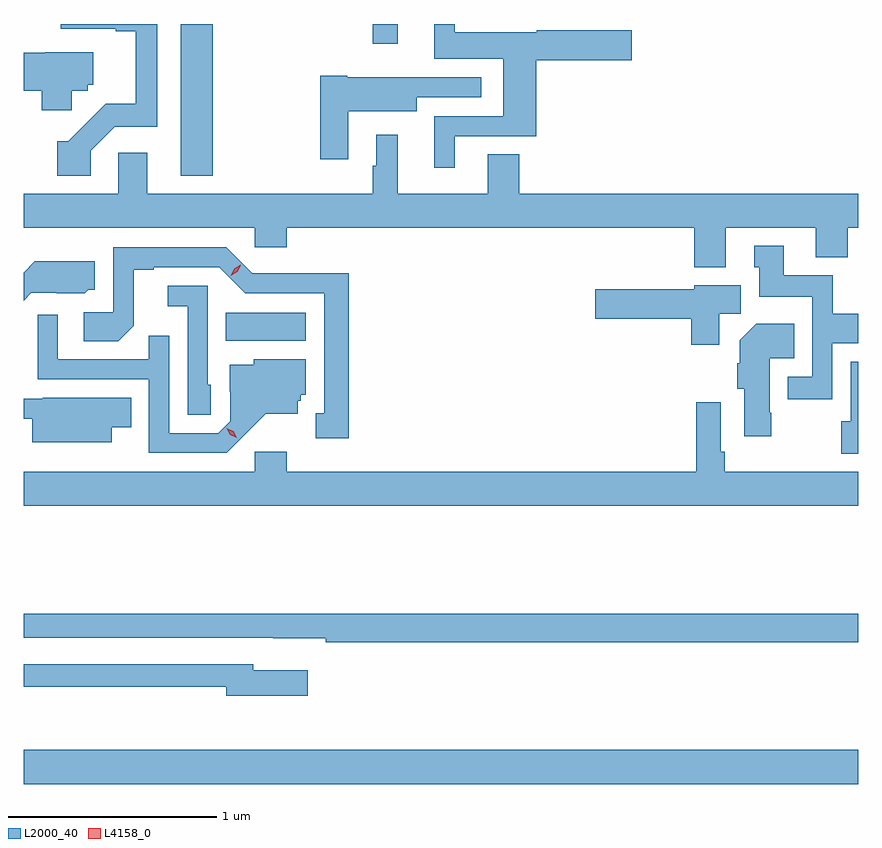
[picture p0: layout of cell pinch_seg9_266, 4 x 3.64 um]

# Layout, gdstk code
import gdstk
lib = gdstk.Library(unit=1e-6, precision=1e-09)
def R(c, l, rs):  # rectangles x0, y0, x1, y1
    for r in rs: c.add(gdstk.rectangle(r[:2], r[2:], *l))
def P(c, l, *ps):  # polygons
    for p in ps: c.add(gdstk.Polygon(p, *l))
L2000_40 = (2000, 40)
L4158_0 = (4158, 0)

pinch_seg9_266 = lib.new_cell('pinch_seg9_266')
R(pinch_seg9_266, L2000_40, [(502.922,1235.048,506.922,1235.212), (503.89,1237.172,504.274,1237.306), (503.675,1237.961,503.828,1238.689), (504.594,1238.595,504.715,1238.689)])
P(pinch_seg9_266, L2000_40, [(503.244,1238.082),(503.358,1238.196),(503.563,1238.196),(503.563,1238.689),(503.101,1238.689),(503.101,1238.667),(503.363,1238.667),(503.363,1238.655),(503.459,1238.655),(503.459,1238.306),(503.315,1238.306),(503.137,1238.128),(503.084,1238.128),(503.084,1237.962),(503.244,1237.962)],
  [(504.988,1238.151),(505.379,1238.151),(505.379,1238.516),(505.837,1238.516),(505.837,1238.658),(505.381,1238.658),(505.381,1238.65),(504.988,1238.65),(504.988,1238.689),(504.89,1238.689),(504.89,1238.522),(505.22,1238.522),(505.22,1238.247),(504.89,1238.247),(504.89,1238.001),(504.988,1238.001)],
  [(503.154,1238.37),(503.229,1238.37),(503.229,1238.397),(503.257,1238.397),(503.257,1238.554),(503.025,1238.554),(503.025,1238.552),(502.922,1238.552),(502.922,1238.369),(503.009,1238.369),(503.009,1238.276),(503.154,1238.276)],
  [(504.478,1238.27),(504.805,1238.27),(504.805,1238.337),(505.114,1238.337),(505.114,1238.433),(504.801,1238.433),(504.801,1238.434),(504.474,1238.434),(504.474,1238.441),(504.344,1238.441),(504.344,1238.04),(504.478,1238.04)],
  [(506.287,1237.712),(506.717,1237.712),(506.717,1237.571),(506.87,1237.571),(506.87,1237.712),(506.922,1237.712),(506.922,1237.876),(505.298,1237.876),(505.298,1238.066),(505.145,1238.066),(505.145,1237.876),(504.715,1237.876),(504.715,1238.158),(504.611,1238.158),(504.611,1238.009),(504.594,1238.009),(504.594,1237.876),(503.515,1237.876),(503.515,1238.071),(503.376,1238.071),(503.376,1237.876),(502.922,1237.876),(502.922,1237.712),(504.03,1237.712),(504.03,1237.619),(504.182,1237.619),(504.182,1237.712),(506.135,1237.712),(506.135,1237.523),(506.287,1237.523)],
  [(506.796,1237.16),(506.922,1237.16),(506.922,1237.3),(506.799,1237.3),(506.799,1237.486),(506.563,1237.486),(506.563,1237.627),(506.423,1237.627),(506.423,1237.524),(506.447,1237.524),(506.447,1237.382),(506.7,1237.382),(506.7,1236.999),(506.583,1236.999),(506.583,1236.891),(506.796,1236.891)],
  [(504.481,1237.496),(504.24,1237.496),(504.24,1237.494),(504.018,1237.494),(503.892,1237.62),(503.352,1237.62),(503.352,1237.308),(503.211,1237.308),(503.211,1237.168),(503.375,1237.168),(503.451,1237.244),(503.451,1237.512),(503.545,1237.512),(503.545,1237.524),(503.859,1237.524),(503.985,1237.398),(504.362,1237.398),(504.362,1236.825),(504.323,1236.825),(504.323,1236.705),(504.481,1236.705)],
  [(502.959,1237.401),(503.082,1237.401),(503.082,1237.4),(503.216,1237.4),(503.232,1237.416),(503.263,1237.416),(503.263,1237.552),(502.975,1237.552),(502.922,1237.498),(502.922,1237.364)],
  [(506.254,1237.3),(506.359,1237.3),(506.359,1237.438),(506.136,1237.438),(506.136,1237.419),(505.662,1237.419),(505.662,1237.277),(506.12,1237.277),(506.12,1237.152),(506.254,1237.152)],
  [(503.82,1236.96),(503.805,1236.96),(503.805,1237.434),(503.613,1237.434),(503.613,1237.337),(503.709,1237.337),(503.709,1236.817),(503.82,1236.817)],
  [(503.98,1236.719),(504.083,1236.821),(504.235,1236.821),(504.235,1236.885),(504.249,1236.885),(504.249,1236.912),(504.274,1236.912),(504.274,1237.084),(504.024,1237.084),(504.024,1237.057),(503.909,1237.057),(503.909,1236.928),(503.913,1236.928),(503.913,1236.786),(503.856,1236.729),(503.619,1236.729),(503.619,1237.196),(503.521,1237.196),(503.521,1237.083),(503.085,1237.083),(503.085,1237.297),(502.989,1237.297),(502.989,1236.987),(503.523,1236.987),(503.523,1236.636),(503.896,1236.636)],
  [(506.505,1236.826),(506.497,1236.826),(506.497,1237.088),(506.615,1237.088),(506.615,1237.252),(506.432,1237.252),(506.354,1237.174),(506.354,1237.064),(506.342,1237.064),(506.342,1236.942),(506.375,1236.942),(506.375,1236.714),(506.505,1236.714)],
  [(506.922,1237.072),(506.885,1237.072),(506.885,1236.786),(506.839,1236.786),(506.839,1236.63),(506.922,1236.63)],
  [(503.344,1236.758),(503.438,1236.758),(503.438,1236.898),(503.014,1236.898),(503.014,1236.894),(502.922,1236.894),(502.922,1236.797),(502.964,1236.797),(502.964,1236.686),(503.344,1236.686)],
  [(506.922,1236.544),(506.282,1236.544),(506.282,1236.64),(506.262,1236.64),(506.262,1236.877),(506.146,1236.877),(506.146,1236.544),(504.182,1236.544),(504.182,1236.64),(504.03,1236.64),(504.03,1236.544),(502.922,1236.544),(502.922,1236.38),(506.922,1236.38)],
  [(506.922,1235.864),(502.922,1235.864),(502.922,1235.748),(504.118,1235.748),(504.118,1235.747),(504.37,1235.747),(504.37,1235.728),(506.922,1235.728)],
  [(504.283,1235.593),(504.022,1235.593),(504.022,1235.622),(502.922,1235.622),(502.922,1235.514),(503.894,1235.514),(503.894,1235.471),(504.283,1235.471)])
P(pinch_seg9_266, L4158_0, [(503.943,1236.707),(503.913,1236.722),(503.896,1236.752),(503.896,1236.752),(503.896,1236.752),(503.926,1236.737),(503.943,1236.707),(503.943,1236.707)],
  [(503.914,1237.483),(503.914,1237.483),(503.931,1237.516),(503.962,1237.535),(503.962,1237.535),(503.962,1237.534),(503.945,1237.502),(503.914,1237.483)])

lib.write_gds('pinch_seg9_266.gds')
